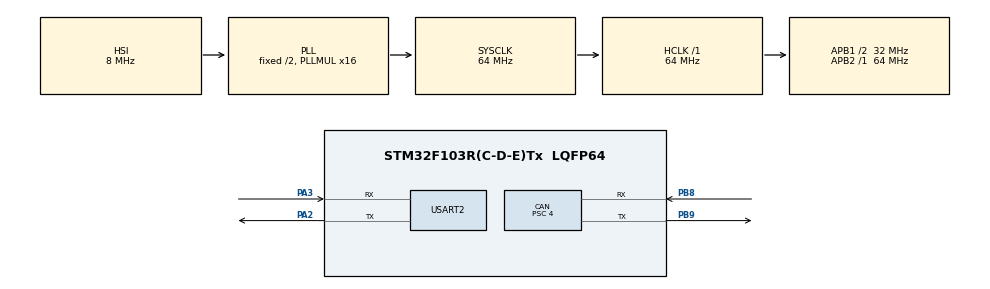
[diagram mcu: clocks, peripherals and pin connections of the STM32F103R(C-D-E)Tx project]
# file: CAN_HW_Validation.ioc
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CAN.BS1=CAN_BS1_13TQ
CAN.BS2=CAN_BS2_2TQ
CAN.CalculateBaudRate=500000
CAN.CalculateTimeBit=2000
CAN.CalculateTimeQuantum=125.0
CAN.Prescaler=4
Mcu.Family=STM32F1
Mcu.Name=STM32F103R(C-D-E)Tx
Mcu.Package=LQFP64
NVIC.PriorityGroup=NVIC_PRIORITYGROUP_4
PA13.Mode=Serial_Wire
PA13.Signal=SYS_JTMS-SWDIO
PA14.Mode=Serial_Wire
PA14.Signal=SYS_JTCK-SWCLK
PA2.Mode=Asynchronous
PA2.Signal=USART2_TX
PA3.Mode=Asynchronous
PA3.Signal=USART2_RX
PB8.Mode=CAN_Activate
PB8.Signal=CAN_RX
PB9.Mode=CAN_Activate
PB9.Signal=CAN_TX
ProjectManager.HeapSize=0x200
ProjectManager.StackSize=0x400
ProjectManager.TargetToolchain=STM32CubeIDE
RCC.AHBFreq_Value=64000000
RCC.APB1CLKDivider=RCC_HCLK_DIV2
RCC.APB1Freq_Value=32000000
RCC.APB1TimFreq_Value=64000000
RCC.APB2Freq_Value=64000000
RCC.APB2TimFreq_Value=64000000
RCC.HCLKFreq_Value=64000000
RCC.PLLMUL=RCC_PLL_MUL16
RCC.SYSCLKFreq_VALUE=64000000
RCC.SYSCLKSource=RCC_SYSCLKSOURCE_PLLCLK
RCC.USBFreq_Value=64000000
USART2.VirtualMode=VM_ASYNC
board=custom

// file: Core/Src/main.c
/* USER CODE BEGIN Header */
/**
  ******************************************************************************
  * @file           : main.c
  * @brief          : Main program body
  ******************************************************************************
  * @attention
  *
  * Copyright (c) 2023 STMicroelectronics.
  * All rights reserved.
  *
  * This software is licensed under terms that can be found in the LICENSE file
  * in the root directory of this software component.
  * If no LICENSE file comes with this software, it is provided AS-IS.
  *
  ******************************************************************************
  */
/* USER CODE END Header */
#include "main.h"

/* USER CODE BEGIN Includes */
#include <stdio.h>
#include "debug_io.h"
/* USER CODE END Includes */

/* USER CODE BEGIN PM */
#define DELAY_TIME 3000
/* USER CODE END PM */

CAN_HandleTypeDef hcan;

UART_HandleTypeDef huart2;

void SystemClock_Config(void);
static void MX_GPIO_Init(void);
static void MX_CAN_Init(void);
static void MX_USART2_UART_Init(void);

int main(void)
{

  /* MCU Configuration--------------------------------------------------------*/

  /* Reset of all peripherals, Initializes the Flash interface and the Systick. */
  HAL_Init();

  /* Configure the system clock */
  SystemClock_Config();

  /* Initialize all configured peripherals */
  MX_GPIO_Init();
  MX_CAN_Init();
  MX_USART2_UART_Init();
  /* USER CODE BEGIN 2 */
  DebugIO_Init(&huart2);
  /* USER CODE END 2 */

  /* Infinite loop */
  while (1)
  {

    /* USER CODE BEGIN 3 */

	// Schematic says that PA1 is the test LED pin.
	// This test will receive a CAN message and toggle the LED, and once doing so,
	  // send out another CAN message.
	  CAN_RxHeaderTypeDef RxHeader;
	  uint8_t RxData[8];

	  if (HAL_CAN_GetRxFifoFillLevel(&hcan, CAN_RX_FIFO0) > 0) {
		  if (HAL_CAN_GetRxMessage(&hcan, CAN_RX_FIFO0, &RxHeader, RxData) == HAL_OK) {
			  printf("Received CAN message!\n");
			  // Process received message

			  // Now send a message back
			  CAN_TxHeaderTypeDef TxHeader;
			  uint32_t TxMailbox;
			  uint8_t TxData[8] = {0x01, 0x02, 0x03, 0x04, 0x05, 0x06, 0x07, 0x08}; // Example data

			  // Configure the Tx Header
			  TxHeader.DLC = 8; // Data length code
			  TxHeader.StdId = 0x123; // Standard identifier
			  TxHeader.ExtId = 0x01; // Extended identifier (if using extended ID)
			  TxHeader.RTR = CAN_RTR_DATA; // Data frame
			  TxHeader.IDE = CAN_ID_STD; // Standard ID

			  if (HAL_CAN_AddTxMessage(&hcan, &TxHeader, TxData, &TxMailbox) != HAL_OK) {
				  printf("Failed to send CAN message with TxData\n");
			  }
			  printf("Sent reply CAN message\n");

			  // Verify the message is received with PCAN-View.
			  HAL_Delay(DELAY_TIME);
		  }
	  }
  }
  /* USER CODE END 3 */
}

void SystemClock_Config(void)
{
  RCC_OscInitTypeDef RCC_OscInitStruct = {0};
  RCC_ClkInitTypeDef RCC_ClkInitStruct = {0};

  /** Initializes the RCC Oscillators according to the specified parameters
  * in the RCC_OscInitTypeDef structure.
  */
  RCC_OscInitStruct.OscillatorType = RCC_OSCILLATORTYPE_HSI;
  RCC_OscInitStruct.HSIState = RCC_HSI_ON;
  RCC_OscInitStruct.HSICalibrationValue = RCC_HSICALIBRATION_DEFAULT;
  RCC_OscInitStruct.PLL.PLLState = RCC_PLL_ON;
  RCC_OscInitStruct.PLL.PLLSource = RCC_PLLSOURCE_HSI_DIV2;
  RCC_OscInitStruct.PLL.PLLMUL = RCC_PLL_MUL16;
  if (HAL_RCC_OscConfig(&RCC_OscInitStruct) != HAL_OK)
  {
    Error_Handler();
  }

  /** Initializes the CPU, AHB and APB buses clocks
  */
  RCC_ClkInitStruct.ClockType = RCC_CLOCKTYPE_HCLK|RCC_CLOCKTYPE_SYSCLK
                              |RCC_CLOCKTYPE_PCLK1|RCC_CLOCKTYPE_PCLK2;
  RCC_ClkInitStruct.SYSCLKSource = RCC_SYSCLKSOURCE_PLLCLK;
  RCC_ClkInitStruct.AHBCLKDivider = RCC_SYSCLK_DIV1;
  RCC_ClkInitStruct.APB1CLKDivider = RCC_HCLK_DIV2;
  RCC_ClkInitStruct.APB2CLKDivider = RCC_HCLK_DIV1;

  if (HAL_RCC_ClockConfig(&RCC_ClkInitStruct, FLASH_LATENCY_2) != HAL_OK)
  {
    Error_Handler();
  }
}

static void MX_CAN_Init(void)
{

  hcan.Instance = CAN1;
  hcan.Init.Prescaler = 4;
  hcan.Init.Mode = CAN_MODE_NORMAL;
  hcan.Init.SyncJumpWidth = CAN_SJW_1TQ;
  hcan.Init.TimeSeg1 = CAN_BS1_13TQ;
  hcan.Init.TimeSeg2 = CAN_BS2_2TQ;
  hcan.Init.TimeTriggeredMode = DISABLE;
  hcan.Init.AutoBusOff = DISABLE;
  hcan.Init.AutoWakeUp = DISABLE;
  hcan.Init.AutoRetransmission = DISABLE;
  hcan.Init.ReceiveFifoLocked = DISABLE;
  hcan.Init.TransmitFifoPriority = DISABLE;
  if (HAL_CAN_Init(&hcan) != HAL_OK)
  {
    Error_Handler();
  }
  /* USER CODE BEGIN CAN_Init 2 */
  if (HAL_CAN_Start(&hcan) != HAL_OK)
	{
	  printf("HAL CAN Start failed\n");
	  Error_Handler();
	}

  /* USER CODE END CAN_Init 2 */

}

static void MX_USART2_UART_Init(void)
{

  huart2.Instance = USART2;
  huart2.Init.BaudRate = 115200;
  huart2.Init.WordLength = UART_WORDLENGTH_8B;
  huart2.Init.StopBits = UART_STOPBITS_1;
  huart2.Init.Parity = UART_PARITY_NONE;
  huart2.Init.Mode = UART_MODE_TX_RX;
  huart2.Init.HwFlowCtl = UART_HWCONTROL_NONE;
  huart2.Init.OverSampling = UART_OVERSAMPLING_16;
  if (HAL_UART_Init(&huart2) != HAL_OK)
  {
    Error_Handler();
  }

}

static void MX_GPIO_Init(void)
{

  /* GPIO Ports Clock Enable */
  __HAL_RCC_GPIOA_CLK_ENABLE();
  __HAL_RCC_GPIOB_CLK_ENABLE();

}

void Error_Handler(void)
{
  __disable_irq();
  while (1)
  {
  }
}
